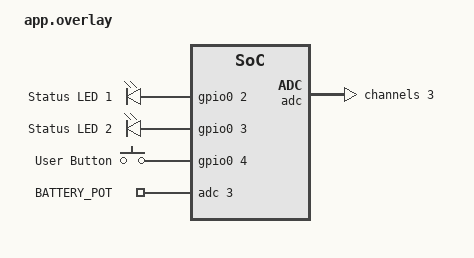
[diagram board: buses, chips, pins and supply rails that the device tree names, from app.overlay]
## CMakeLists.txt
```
cmake_minimum_required(VERSION 3.20.0)
find_package(Zephyr REQUIRED HINTS $ENV{ZEPHYR_BASE})

project(Day12_14)
target_include_directories(app PRIVATE inc)
target_sources(app PRIVATE
    src/main.c
    src/ble_setup.c
    src/service_lock.c
    src/app_lock.c
    src/app_battery.c
)
```

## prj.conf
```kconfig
CONFIG_ADC=y
CONFIG_GPIO=y
CONFIG_BT_BAS=y

CONFIG_LOG=y
CONFIG_USE_SEGGER_RTT=y
CONFIG_RTT_CONSOLE=y
CONFIG_UART_CONSOLE=n

CONFIG_BT=y
CONFIG_BT_DIS=y
CONFIG_BT_PERIPHERAL=y
CONFIG_BT_DEVICE_NAME="SmartLock_Day12_14"
CONFIG_BT_DEVICE_APPEARANCE=833

CONFIG_BT_SMP=y
CONFIG_BT_BONDABLE=y
CONFIG_BT_FIXED_PASSKEY=n
CONFIG_BT_SMP_ENFORCE_MITM=n
CONFIG_BT_PERIPHERAL_PREF_TIMEOUT=400

CONFIG_BT_L2CAP_TX_MTU=247
CONFIG_BT_CTLR_DATA_LENGTH_MAX=69

CONFIG_BT_GATT_CLIENT=y

CONFIG_BT_MAX_PAIRED=1
CONFIG_BT_MAX_CONN=1
CONFIG_BT_BUF_ACL_RX_SIZE=251
CONFIG_BT_BUF_ACL_TX_SIZE=251
CONFIG_BT_L2CAP_TX_BUF_COUNT=3

CONFIG_BT_RX_STACK_SIZE=2048
CONFIG_MAIN_STACK_SIZE=2048

CONFIG_FLASH=y
CONFIG_FLASH_MAP=y
CONFIG_NVS=y
CONFIG_SETTINGS=y
CONFIG_BT_SETTINGS=y
```

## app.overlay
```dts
/ {
    /* 
     * 1. 定义 LED 
     */
    my_leds {
        compatible = "gpio-leds";
        led_custom_1: led_1 {
            gpios = <&gpio0 2 GPIO_ACTIVE_HIGH>;
            label = "Status LED 1";
        };
        led_custom_2: led_2 {
            gpios = <&gpio0 3 GPIO_ACTIVE_HIGH>;
            label = "Status LED 2";
        };
    };

    /* 
     * 2. 定义按键 
     */
    buttons {
        compatible = "gpio-keys";
        button_custom: button_0 {
            gpios = <&gpio0 4 (GPIO_ACTIVE_HIGH | GPIO_PULL_DOWN)>;
            label = "User Button";
        };
    };

    /* 
     * 3.  自定义 ADC 节点
     * 用于在 C 代码中获取 ADC 设备引用和通道配置
     */
    zephyr,user {
        /* 
         * io-channels 语法: <&adc 通道号>
         * nRF52832 映射关系:
         * 3 -> AIN3 -> P0.05 引脚
         * (因为 P0.02-P0.04 已被占用，所以顺延使用 P0.05)
         */
        io-channels = <&adc 3>;
        io-channel-names = "BATTERY_POT";
    };

    /* 修改别名 */
    aliases {
        led0 = &led_custom_1;
        led1 = &led_custom_2;
        sw0  = &button_custom;
    };
};
&adc {
    status = "okay";
    #address-cells = <1>;
    #size-cells = <0>;

    channel@3 {
        reg = <3>; // Channel 3 = AIN3 = P0.05
        zephyr,gain = "ADC_GAIN_1_6"; // 1/6 增益
        zephyr,reference = "ADC_REF_INTERNAL"; // 0.6V 内部参考
        zephyr,acquisition-time = <ADC_ACQ_TIME_DEFAULT>;
        zephyr,input-positive = <NRF_SAADC_AIN3>;
        zephyr,resolution = <12>;
    };
};
```

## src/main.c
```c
#include <zephyr/kernel.h>
#include <zephyr/logging/log.h>
#include "app_lock.h"
#include "ble_setup.h"
// #include "app_battery.h" // 待实现
LOG_MODULE_REGISTER(main, LOG_LEVEL_INF);
int main(void)
{
    LOG_INF("Starting SmartLock Demo...");

    // 1. 关键：必须先初始化硬件和 WorkQueue
    // 如果这行没跑，k_work 没初始化，后面一调就崩
    int err = app_lock_init();
    if (err) {
        LOG_ERR("Failed to init hardware: %d", err);
        return 0;
    }

    err = app_battery_init();
    if (err) {
        LOG_ERR("Failed to init battery: %d", err);
        return 0;
    }
    // 2. 硬件就绪后，再启动蓝牙
    err = ble_setup_init();
    if (err) {
        LOG_ERR("Failed to init BLE: %d", err);
        return 0;
    }

    LOG_INF("System Boot Complete.");

    // 主线程可以休眠，RTOS 会接管
    return 0;
}
```

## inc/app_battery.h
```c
#ifndef APP_BATTERY_H
#define APP_BATTERY_H

/**
 * @brief 初始化电池采样模块
 * 
 * 启动一个定时任务，每隔一段时间读取 ADC 并更新 BLE 电量
 */
int app_battery_init(void);

#endif // APP_BATTERY_H
```

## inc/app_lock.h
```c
#ifndef APP_LOCK_H
#define APP_LOCK_H

/**
 * @brief 初始化锁的硬件（GPIO, 中断, WorkQueue）
 */
int app_lock_init(void);

/**
 * @brief 执行开锁动作
 * 
 * 逻辑：
 * 1. 点亮电磁铁 LED
 * 2. 更新 BLE 状态为 "Unlocked"
 * 3. 启动 3秒 定时器
 * 4. 定时结束后自动熄灭 LED 并更新状态为 "Locked"
 */
void app_lock_open(void);

#endif // APP_LOCK_H
```

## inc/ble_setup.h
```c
#ifndef BLE_SETUP_H
#define BLE_SETUP_H

#include <stdbool.h>

/**
 * @brief 初始化蓝牙协议栈，配置回调，并启动初始广播
 * @return 0 表示成功，负数表示错误码
 */
int ble_setup_init(void);

/**
 * @brief 强制启动快速广播 (Fast Advertising)
 * 
 * 用于按键唤醒场景。如果当前已连接，此函数无效。
 * 快速广播持续一段时间后会自动切换回慢速广播。
 */
void ble_setup_start_fast_adv(void);

/**
 * @brief 获取当前蓝牙连接状态
 */
bool ble_is_connected(void);

#endif // BLE_SETUP_H
```

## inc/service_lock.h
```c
#ifndef SERVICE_LOCK_H
#define SERVICE_LOCK_H

#include <stdbool.h>

/**
 * @brief 更新锁的状态通知给手机
 * @param is_unlocked true=开锁状态, false=关锁状态
 */
int service_lock_send_status(bool is_unlocked);

#endif // SERVICE_LOCK_H
```

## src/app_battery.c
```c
#include <zephyr/kernel.h>
#include <zephyr/drivers/adc.h>
#include <zephyr/logging/log.h>
#include <zephyr/bluetooth/services/bas.h> // 标准电池服务接口

#include "app_battery.h"

LOG_MODULE_REGISTER(app_battery, LOG_LEVEL_INF);

/* ----------------配置参数---------------- */
#define BATTERY_MEASURE_INTERVAL_MS 10000 // 每10秒检测一次 (测试用，实际产品可设为几分钟)

/* 
 * 电池电压范围假设：
 * 模拟最大值 3.0V = 100%
 * 模拟最小值 2.0V = 0% 
 * (根据你的电位器调节范围调整)
 */
#define BATTERY_VOLTAGE_MAX_MV  3000
#define BATTERY_VOLTAGE_MIN_MV  2000

/* ----------------硬件节点获取---------------- */
// 获取我们在 app.overlay 中定义的 zephyr,user -> io-channels
static const struct adc_dt_spec adc_channel = ADC_DT_SPEC_GET(DT_PATH(zephyr_user));

/* ----------------变量定义---------------- */
static struct k_work_delayable battery_work;
static int16_t adc_buffer[1]; // 存放采样结果

/* ----------------ADC 采样与转换逻辑---------------- */

static void battery_sample_handler(struct k_work *work)
{
    int err;
    int32_t val_mv;
    uint8_t battery_level;

    // 1. 启动采样
    struct adc_sequence sequence = {
        .buffer = adc_buffer,
        .buffer_size = sizeof(adc_buffer),
        // 分辨率通常 10-bit 或 12-bit，这里由 DT 配置决定，默认通常是 12
    };
    
    // 必须手动把 DT 中的参数填入 sequence
    adc_sequence_init_dt(&adc_channel, &sequence);

    err = adc_read(adc_channel.dev, &sequence);
    if (err) {
        LOG_ERR("ADC read failed (err %d)", err);
        goto reschedule;
    }

    // 2. 转换为毫伏 (mV)
    val_mv = adc_buffer[0];
    err = adc_raw_to_millivolts_dt(&adc_channel, &val_mv);
    if (err) {
        LOG_ERR("ADC convert failed (err %d)", err);
        goto reschedule;
    }

    LOG_INF("ADC Voltage: %d mV", val_mv);

    // 3. 计算百分比 (简单的线性映射)
    if (val_mv >= BATTERY_VOLTAGE_MAX_MV) {
        battery_level = 100;
    } else if (val_mv <= BATTERY_VOLTAGE_MIN_MV) {
        battery_level = 0;
    } else {
        battery_level = (uint8_t)((val_mv - BATTERY_VOLTAGE_MIN_MV) * 100 / 
                                  (BATTERY_VOLTAGE_MAX_MV - BATTERY_VOLTAGE_MIN_MV));
    }

    // 4. 更新 BLE Battery Service
    // bt_bas_set_battery_level 是 Zephyr 内置函数
    // 它会自动检查是否连接、是否开启 Notify，然后推送数据
    bt_bas_set_battery_level(battery_level);
    LOG_INF("Reported Battery Level: %d%%", battery_level);

reschedule:
    // 5. 重新调度下一次采样
    k_work_reschedule(&battery_work, K_MSEC(BATTERY_MEASURE_INTERVAL_MS));
}

/* ----------------初始化---------------- */

int app_battery_init(void)
{
    int err;

    // 1. 检查设备是否就绪
    if (!adc_is_ready_dt(&adc_channel)) {
        LOG_ERR("ADC controller not ready");
        return -ENODEV;
    }

    // 2. 配置通道 (Channel Setup)
    // 根据 overlay 中的配置应用到硬件
    err = adc_channel_setup_dt(&adc_channel);
    if (err) {
        LOG_ERR("ADC setup failed (err %d)", err);
        return err;
    }

    // 3. 初始化定时任务
    k_work_init_delayable(&battery_work, battery_sample_handler);

    // 4. 立即启动第一次采样
    k_work_reschedule(&battery_work, K_NO_WAIT);

    LOG_INF("Battery Monitor Initialized");
    return 0;
}
```

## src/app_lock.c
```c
#include <zephyr/kernel.h>
#include <zephyr/drivers/gpio.h>
#include <zephyr/logging/log.h>

#include "app_lock.h"
#include "service_lock.h"
#include "ble_setup.h" 

LOG_MODULE_REGISTER(app_lock, LOG_LEVEL_INF);

/* ---------------- 硬件定义 ---------------- */
static const struct gpio_dt_spec led_lock = GPIO_DT_SPEC_GET(DT_ALIAS(led1), gpios);
static const struct gpio_dt_spec button   = GPIO_DT_SPEC_GET(DT_ALIAS(sw0), gpios);

/* ---------------- 变量定义 ---------------- */
static struct gpio_callback button_cb_data;
static struct k_work_delayable lock_work;  // 开锁延时任务
static struct k_work button_work;          // [新增] 按键处理任务
static struct k_work open_door_work;
/* ---------------- 内部函数: Work Queue Handlers ---------------- */
static void open_door_work_handler(struct k_work *work)
{
    LOG_INF("Executing Unlock Sequence in System Thread");

    // 1. 硬件动作
    gpio_pin_set_dt(&led_lock, 1);

    // 2. 蓝牙状态更新 (在这里调用是安全的)
    service_lock_send_status(true);

    // 3. 调度自动关锁 (3秒)
    // 先取消可能存在的旧任务
    k_work_cancel_delayable(&lock_work);
    k_work_reschedule(&lock_work, K_SECONDS(3));
}
// [新增] 专门处理按键事件的任务 (运行在 System Work Queue 线程中)
static void button_work_handler(struct k_work *work)
{
    LOG_INF("Processing button event in thread context");
    // 在这里调用 BLE API 是安全的
    ble_setup_start_fast_adv();
}

// 自动关锁任务
static void lock_autoclose_handler(struct k_work *work)
{
    LOG_INF("Timeout: Locking door automatically.");
    gpio_pin_set_dt(&led_lock, 0);
    service_lock_send_status(false);
}

/* ---------------- 中断回调 (ISR) ---------------- */
// 注意：ISR 必须尽可能快，不能包含耗时或阻塞操作
static void button_pressed(const struct device *dev, struct gpio_callback *cb,
                           uint32_t pins)
{
    // 不要在这里调用 ble_setup_start_fast_adv() !!!
    // 而是提交任务给 WorkQueue
    k_work_submit(&button_work);
}

/* ---------------- 对外接口 ---------------- */

void app_lock_open(void)
{
    // 不要直接执行动作，而是提交任务
    // 这会立即返回，释放 BT RX 线程
    LOG_INF("Received Unlock Request -> Submitting to WorkQueue");
    k_work_submit(&open_door_work);
}

int app_lock_init(void)
{
    //int ret;

    // --- 1. 初始化所有 WorkQueue ---
    k_work_init_delayable(&lock_work, lock_autoclose_handler);
    k_work_init(&button_work, button_work_handler);
    k_work_init(&open_door_work, open_door_work_handler); // [新增] 初始化

    // --- 2. 初始化 LED (保持不变) ---
    if (!gpio_is_ready_dt(&led_lock)) return -ENODEV;
    gpio_pin_configure_dt(&led_lock, GPIO_OUTPUT_INACTIVE);

    // --- 3. 初始化 Button (保持不变) ---
    if (!gpio_is_ready_dt(&button)) return -ENODEV;
    gpio_pin_configure_dt(&button, GPIO_INPUT);
    gpio_pin_interrupt_configure_dt(&button, GPIO_INT_EDGE_TO_ACTIVE);
    gpio_init_callback(&button_cb_data, button_pressed, BIT(button.pin));
    gpio_add_callback(button.port, &button_cb_data);

    LOG_INF("App Lock Hardware Initialized");
    return 0;
}
```

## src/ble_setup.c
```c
#include <zephyr/kernel.h>
#include <zephyr/logging/log.h>
#include <zephyr/bluetooth/bluetooth.h>
#include <zephyr/bluetooth/conn.h>
#include <zephyr/bluetooth/uuid.h>
#include <zephyr/bluetooth/gatt.h>
#include <zephyr/settings/settings.h>

#include "ble_setup.h"

// 注册日志模块
LOG_MODULE_REGISTER(ble_setup, LOG_LEVEL_INF);

/* ----------------配置参数---------------- */
#define FAST_ADV_DURATION_SEC   30 // 快速广播持续30秒

// 快速广播参数: Interval 40ms - 50ms
static const struct bt_le_adv_param *adv_param_fast =
    BT_LE_ADV_PARAM(BT_LE_ADV_OPT_CONNECTABLE,
                    BT_GAP_ADV_FAST_INT_MIN_2,
                    BT_GAP_ADV_FAST_INT_MAX_2,
                    NULL);

// 慢速广播参数: Interval 1000ms - 1500ms
static const struct bt_le_adv_param *adv_param_slow =
    BT_LE_ADV_PARAM(BT_LE_ADV_OPT_CONNECTABLE,
                    1600, // 1600 * 0.625us = 1000ms
                    2400, // 2400 * 0.625us = 1500ms
                    NULL);

/* ----------------全局变量---------------- */
static struct bt_conn *current_conn = NULL; // 当前连接句柄
static struct k_work_delayable adv_mode_work; // 用于广播超时切换的定时任务

/* 
 * 广播数据包 (Advertising Data)
 * 包含: Flags, Device Name, Battery Service UUID
 * 注意: 自定义 Service UUID 通常较长，建议放在 Scan Response 中，或者只放部分
 */
static const struct bt_data ad[] = {
    BT_DATA_BYTES(BT_DATA_FLAGS, (BT_LE_AD_GENERAL | BT_LE_AD_NO_BREDR)),
    BT_DATA(BT_DATA_NAME_COMPLETE, CONFIG_BT_DEVICE_NAME, sizeof(CONFIG_BT_DEVICE_NAME) - 1),
    BT_DATA_BYTES(BT_DATA_UUID16_ALL, BT_UUID_16_ENCODE(BT_UUID_BAS_VAL)), 
};

/* ----------------内部函数声明---------------- */
static void start_advertising_slow(void);
static void start_advertising_fast(void);
static void security_changed(struct bt_conn *conn, bt_security_t level,
                             enum bt_security_err err);
/* ----------------WorkQueue 回调---------------- */
// 当快速广播 30秒超时后执行此函数
static void adv_timeout_handler(struct k_work *work)
{
    LOG_INF("Fast advertising timeout. Switching to SLOW advertising.");
    
    // 停止当前广播
    bt_le_adv_stop();
    
    // 切换到慢速广播 (永久运行，直到连接或掉电)
    start_advertising_slow();
}

/* ----------------辅助函数---------------- */
static void start_advertising_fast(void)
{
    int err = bt_le_adv_start(adv_param_fast, ad, ARRAY_SIZE(ad), NULL, 0);
    if (err) {
        if (err == -EALREADY) return; // 已经在广播中，忽略
        LOG_ERR("Failed to start fast advertising (err %d)", err);
    } else {
        LOG_INF("Fast advertising started (30s timeout)");
        // 启动/重置 30秒 倒计时
        k_work_reschedule(&adv_mode_work, K_SECONDS(FAST_ADV_DURATION_SEC));
    }
}

static void start_advertising_slow(void)
{
    int err = bt_le_adv_start(adv_param_slow, ad, ARRAY_SIZE(ad), NULL, 0);
    if (err) {
        LOG_ERR("Failed to start slow advertising (err %d)", err);
    } else {
        LOG_INF("Slow advertising started (Infinite)");
    }
    // 慢速广播不需要超时处理，取消任何挂起的定时器
    k_work_cancel_delayable(&adv_mode_work);
}

/* ----------------连接回调 (Connection Callbacks)---------------- */
static void connected(struct bt_conn *conn, uint8_t err)
{
    if (err) {
        LOG_ERR("Connection failed (err 0x%02x)", err);
        return;
    }

    LOG_INF("Connected");
    current_conn = bt_conn_ref(conn);

    // 连接成功后，停止广播超时计时器
    k_work_cancel_delayable(&adv_mode_work);
    
    // 可以在这里调用 LED 控制函数点亮 LED0 (建议通过回调或 extern 实现)
}

static void disconnected(struct bt_conn *conn, uint8_t reason)
{
    LOG_INF("Disconnected (reason 0x%02x)", reason);

    if (current_conn) {
        bt_conn_unref(current_conn);
        current_conn = NULL;
    }

    // 断开连接后，立即进入快速广播以便重连
    start_advertising_fast();
}

// 注册连接回调结构体
BT_CONN_CB_DEFINE(conn_callbacks) = {
    .connected = connected,
    .disconnected = disconnected,
    .security_changed = security_changed,
};

/* ----------------安全回调 (Security Callbacks)---------------- */
static void security_changed(struct bt_conn *conn, bt_security_t level,
                             enum bt_security_err err)
{
    char addr[BT_ADDR_LE_STR_LEN];
    bt_addr_le_to_str(bt_conn_get_dst(conn), addr, sizeof(addr));

    if (!err) {
        LOG_INF("Security changed: %s level %u", addr, level);
    } else {
        LOG_ERR("Security failed: %s level %u err %d", addr, level, err);
    }
}

static void auth_passkey_display(struct bt_conn *conn, unsigned int passkey)
{
    // 本项目使用 Just Works，不应触发此回调，但保留作为调试
    LOG_INF("Passkey display: %u", passkey);
}

static void auth_cancel(struct bt_conn *conn)
{
    LOG_INF("Pairing cancelled");
}

// 注册安全回调
static struct bt_conn_auth_cb auth_cb_display = {
    .passkey_display = auth_passkey_display,
    .passkey_entry = NULL,
    .cancel = auth_cancel,
};

static void auth_pairing_complete(struct bt_conn *conn, bool bonded)
{
    LOG_INF("Pairing Complete. Bonded: %d", bonded);
}

static struct bt_conn_auth_info_cb auth_cb_info = {
    .pairing_complete = auth_pairing_complete,
    .pairing_failed = NULL // 可以添加错误处理
};

/* ----------------对外接口实现---------------- */

int ble_setup_init(void)
{
    int err;

    // 1. 初始化定时器 (保持不变)
    k_work_init_delayable(&adv_mode_work, adv_timeout_handler);

    // 2. 注册回调 (保持不变)
    bt_conn_auth_cb_register(&auth_cb_display);
    bt_conn_auth_info_cb_register(&auth_cb_info);

    // 3. 启用蓝牙栈
    err = bt_enable(NULL);
    if (err) {
        LOG_ERR("Bluetooth init failed (err %d)", err);
        return err;
    }


    if (IS_ENABLED(CONFIG_BT_SETTINGS)) {
        LOG_INF("Loading settings from Flash...");
        settings_load(); 
    }
    // ==========================================

    LOG_INF("Bluetooth initialized");

    // 4. 启动广播
    start_advertising_slow(); 

    return 0;
}

void ble_setup_start_fast_adv(void)
{
    // 如果已经连接，不允许切换广播模式
    if (current_conn) {
        LOG_WRN("Cannot start fast adv: Already connected");
        return;
    }

    // 停止当前可能正在运行的慢速广播
    bt_le_adv_stop();
    
    // 启动快速广播
    start_advertising_fast();
}

bool ble_is_connected(void)
{
    return (current_conn != NULL);
}
```

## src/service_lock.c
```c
#include <stddef.h>
#include <stdint.h>
#include <zephyr/types.h>
#include <zephyr/logging/log.h>
#include <zephyr/bluetooth/bluetooth.h>
#include <zephyr/bluetooth/hci.h>
#include <zephyr/bluetooth/conn.h>
#include <zephyr/bluetooth/uuid.h>
#include <zephyr/bluetooth/gatt.h>

#include "service_lock.h"
#include "app_lock.h"

LOG_MODULE_REGISTER(service_lock, LOG_LEVEL_INF);

/* ---------------- UUID 定义 ---------------- */
// 自定义 Service UUID: 12345678-1234-5678-1234-56789ABC0000
#define LOCK_SVC_UUID_VAL \
    BT_UUID_128_ENCODE(0x12345678, 0x1234, 0x5678, 0x1234, 0x56789ABC0000)

// Control Point UUID (Write): ...0001
#define LOCK_CTRL_UUID_VAL \
    BT_UUID_128_ENCODE(0x12345678, 0x1234, 0x5678, 0x1234, 0x56789ABC0001)

// Status UUID (Notify): ...0002
#define LOCK_STATUS_UUID_VAL \
    BT_UUID_128_ENCODE(0x12345678, 0x1234, 0x5678, 0x1234, 0x56789ABC0002)

static struct bt_uuid_128 lock_svc_uuid = BT_UUID_INIT_128(LOCK_SVC_UUID_VAL);
static struct bt_uuid_128 lock_ctrl_uuid = BT_UUID_INIT_128(LOCK_CTRL_UUID_VAL);
static struct bt_uuid_128 lock_status_uuid = BT_UUID_INIT_128(LOCK_STATUS_UUID_VAL);

/* ---------------- 状态变量 ---------------- */
static bool notify_enabled = false;
static uint8_t current_lock_status = 0; // 0=Locked, 1=Unlocked

/* ---------------- 回调函数 ---------------- */

// CCCD (Client Characteristic Configuration) 改变时的回调
static void lock_ccc_cfg_changed(const struct bt_gatt_attr *attr, uint16_t value)
{
    notify_enabled = (value == BT_GATT_CCC_NOTIFY);
    LOG_INF("Notification %s", notify_enabled ? "enabled" : "disabled");
}

// 写入回调：接收手机发来的开锁指令
static ssize_t write_lock_ctrl(struct bt_conn *conn, const struct bt_gatt_attr *attr,
                               const void *buf, uint16_t len, uint16_t offset,
                               uint8_t flags)
{
    const uint8_t *val = buf;

    // 简单校验数据长度
    if (len != 1) {
        LOG_WRN("Invalid write length: %d", len);
        return BT_GATT_ERR(BT_ATT_ERR_INVALID_ATTRIBUTE_LEN);
    }

    // 0x01 = 开锁指令
    if (val[0] == 0x01) {
        LOG_INF("Received Unlock Command from App");
        // 调用应用层接口执行硬件动作
        app_lock_open();
    } else {
        LOG_WRN("Unknown command: 0x%02x", val[0]);
    }

    return len;
}

// 读取回调：获取当前锁状态
static ssize_t read_lock_status(struct bt_conn *conn, const struct bt_gatt_attr *attr,
                                void *buf, uint16_t len, uint16_t offset)
{
    // current_lock_status 由 app_lock 逻辑间接控制，或者通过 service_lock_send_status 更新
    return bt_gatt_attr_read(conn, attr, buf, len, offset, &current_lock_status, sizeof(current_lock_status));
}

/* ---------------- GATT 服务定义 ---------------- */
BT_GATT_SERVICE_DEFINE(smart_lock_svc,
    BT_GATT_PRIMARY_SERVICE(&lock_svc_uuid),

    // Characteristic 1: Control Point (Write Only)
    // 关键点：BT_GATT_PERM_WRITE_ENCRYPT -> 必须加密链路才能写入（强制配对）
    BT_GATT_CHARACTERISTIC(&lock_ctrl_uuid.uuid,
                           BT_GATT_CHRC_WRITE,
                           BT_GATT_PERM_WRITE_ENCRYPT, 
                           NULL, write_lock_ctrl, NULL),

    // Characteristic 2: Status (Read | Notify)
    // 关键点：BT_GATT_PERM_READ_ENCRYPT -> 必须加密链路才能读取
    BT_GATT_CHARACTERISTIC(&lock_status_uuid.uuid,
                           BT_GATT_CHRC_READ | BT_GATT_CHRC_NOTIFY,
                           BT_GATT_PERM_READ_ENCRYPT,
                           read_lock_status, NULL, NULL),
    
    // CCCD (用于开启 Notify)
    BT_GATT_CCC(lock_ccc_cfg_changed, BT_GATT_PERM_READ | BT_GATT_PERM_WRITE_ENCRYPT),
);

/* ---------------- 对外接口 ---------------- */

int service_lock_send_status(bool is_unlocked)
{
    current_lock_status = is_unlocked ? 1 : 0;

    if (!notify_enabled) {
        return 0; // 客户端没订阅，无需发送
    }

    // 发送 Notify
    return bt_gatt_notify_uuid(NULL, 
                           &lock_status_uuid.uuid, 
                           smart_lock_svc.attrs, 
                           &current_lock_status, 
                           sizeof(current_lock_status));
}
```
